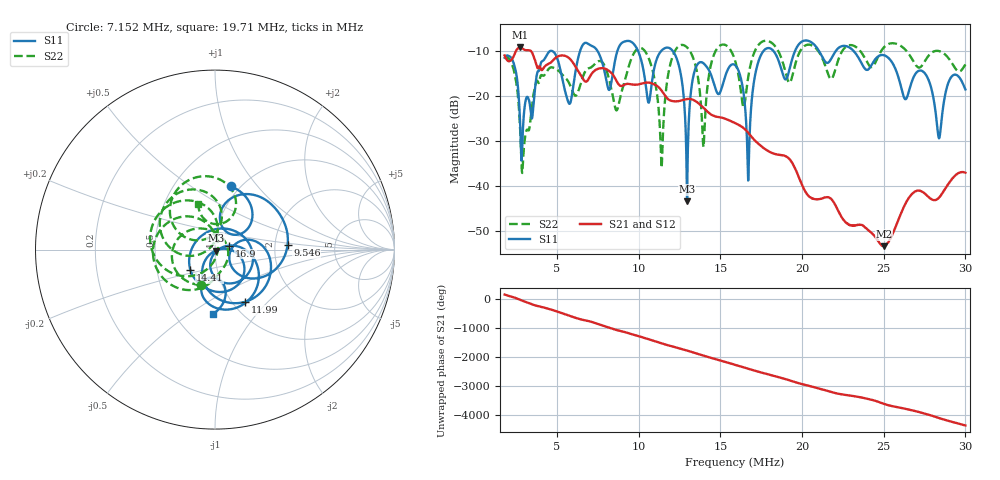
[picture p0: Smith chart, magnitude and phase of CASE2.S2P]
!Agilent Technologies,E5061B,MY49101568,A.02.00
!Date: Wed Mar 01 14:55:54 2023
!Data & Calibration Information:
!Freq	S11:SOLT2(OFF)	S21:SOLT2(OFF)	S12:SOLT2(OFF)	S22:SOLT2(OFF)
# Hz S dB R 50
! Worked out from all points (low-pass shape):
!   1155 points, 1.8 MHz to 30 MHz, reference 50 ohm
!   highest |S21| = -9.07 dB at 2.729 MHz (marker M1); lowest = -53.3 dB at 25.01 MHz (marker M2)
!   |S21| within 3 dB of the highest: 2.142 MHz to 3.673 MHz (1.531 MHz wide, 52.7 % of centre); 4.741 MHz to 5.898 MHz (1.157 MHz wide, 21.8 % of centre)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
!   lowest |S11| = -43.4 dB at 12.97 MHz (marker M3), VSWR 1.01, Z = 50.4 - j0.537 ohm
!   |S11| at or under -10 dB: start of sweep to 4.543 MHz; 12.11 MHz to 17.62 MHz (5.508 MHz wide, 37 % of centre); 23.18 MHz to end of sweep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
!   |S22| runs from -37.0 to -7.6 dB; largest |S21 - S12| = 0.0045
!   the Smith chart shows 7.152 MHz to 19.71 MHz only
!   S11 on the Smith chart (normalised r, x): 7.152 MHz: 0.91, +0.74; 9.546 MHz: 2.35, +0.15; 11.99 MHz: 1.14, -0.75; 14.41 MHz: 0.74, -0.18; 16.9 MHz: 1.17, +0.05; 19.71 MHz: 0.76, -0.62
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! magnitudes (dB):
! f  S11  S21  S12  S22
! 1.8 MHz  -11.4  -10.9  -10.8  -11.2
! 2.729 MHz  -24.2  -9.1  -9.1  -25.8
! 6.516 MHz  -9.0  -15.6  -15.6  -16.5
! 7.152 MHz  -8.8  -14.8  -14.7  -13.4
! 8.667 MHz  -10.3  -16.7  -16.6  -23.1
! 9.546 MHz  -7.8  -17.3  -17.3  -11.7
! 10.6 MHz  -21.3  -16.9  -17.0  -11.3
! 11.21 MHz  -10.9  -17.9  -17.9  -22.1
! 11.43 MHz  -9.7  -18.8  -18.9  -34.8
! 11.99 MHz  -9.5  -21.0  -21.0  -12.2
! 12.97 MHz  -43.4  -20.6  -20.7  -9.1
! 13.97 MHz  -12.6  -22.5  -22.5  -31.3
! 14.41 MHz  -15.0  -24.0  -24.0  -13.2
! 15.9 MHz  -13.0  -25.9  -26.0  -12.0
! 16.68 MHz  -36.0  -28.0  -28.0  -16.3
! 16.9 MHz  -21.8  -28.9  -29.0  -12.2
! 19.71 MHz  -8.9  -37.1  -37.2  -11.4
! 20.62 MHz  -8.1  -42.7  -42.7  -8.7
! 25.01 MHz  -10.8  -53.3  -53.2  -9.1
! 25.31 MHz  -11.5  -52.3  -52.2  -8.3
! 28.39 MHz  -29.3  -42.5  -42.4  -9.9
! 30 MHz  -18.4  -37.0  -36.9  -12.9
